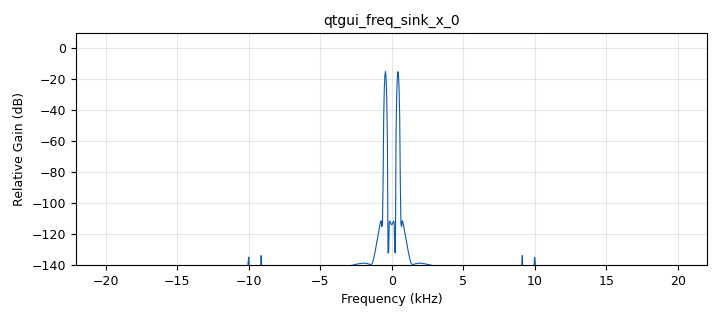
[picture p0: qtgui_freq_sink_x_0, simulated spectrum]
options:
  parameters:
    author: OWATT
    generate_options: qt_gui
    id: a440
    output_language: python
    title: Not titled yet
  states: {}

blocks:
- name: note_freq
  id: variable_qtgui_range
  parameters:
    start: '0'
    step: '10'
    stop: '8000'
    value: '440'
  states: {}
- name: samp_rate
  id: variable
  parameters:
    value: '44100'
  states: {}
- name: analog_sig_source_x_0
  id: analog_sig_source_x
  parameters:
    amp: '1'
    freq: note_freq
    offset: '0'
    phase: '0'
    samp_rate: samp_rate
    type: float
    waveform: analog.GR_SIN_WAVE
  states: {}
- name: audio_sink_0
  id: audio_sink
  parameters:
    samp_rate: samp_rate
  states: {}
- name: qtgui_freq_sink_x_0
  id: qtgui_freq_sink_x
  parameters:
    bw: samp_rate
    fc: '0'
    fftsize: '1024'
    type: float
  states: {}

connections:
- [analog_sig_source_x_0, '0', audio_sink_0, '0']
- [analog_sig_source_x_0, '0', qtgui_freq_sink_x_0, '0']

metadata:
  file_format: 1
  grc_version: 3.10.9.2
